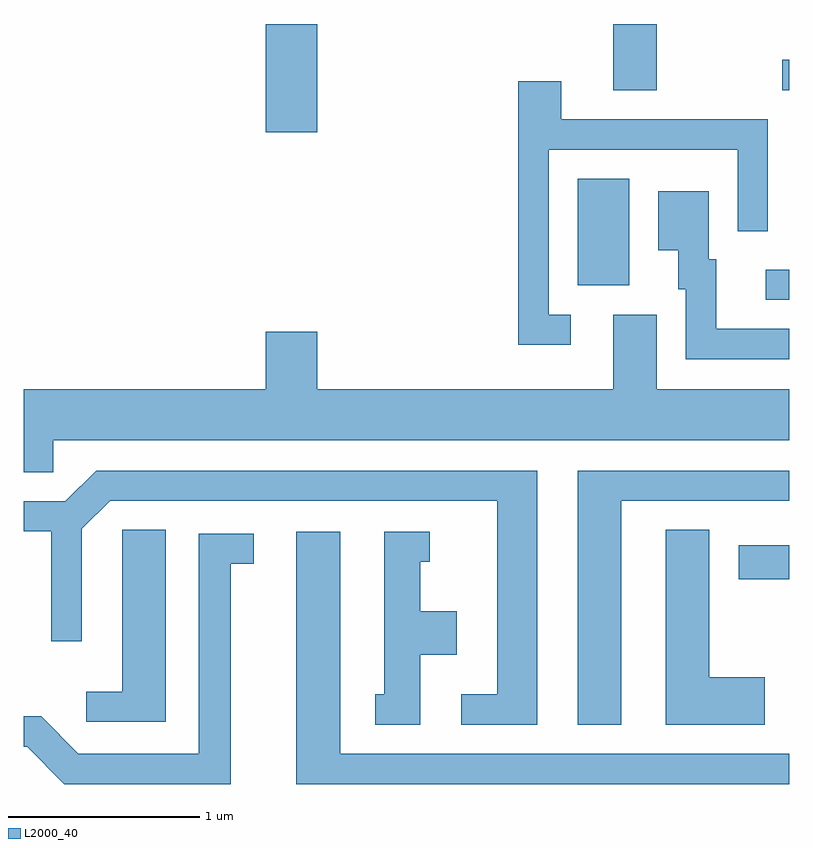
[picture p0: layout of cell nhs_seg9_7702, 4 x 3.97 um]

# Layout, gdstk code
import gdstk
lib = gdstk.Library(unit=1e-6, precision=1e-09)
def R(c, l, rs):  # rectangles x0, y0, x1, y1
    for r in rs: c.add(gdstk.rectangle(r[:2], r[2:], *l))
def P(c, l, *ps):  # polygons
    for p in ps: c.add(gdstk.Polygon(p, *l))
L2000_40 = (2000, 40)

nhs_seg9_7702 = lib.new_cell('nhs_seg9_7702')
R(nhs_seg9_7702, L2000_40, [(417.346,1995.531,417.611,1995.709), (417.488,1996.991,417.611,1997.149), (416.506,1997.066,416.774,1997.624), (414.876,1997.866,415.144,1998.432), (416.691,1998.086,416.919,1998.432), (417.573,1998.086,417.611,1998.244)])
P(nhs_seg9_7702, L2000_40, [(416.468,1996.914),(416.354,1996.914),(416.354,1997.776),(417.341,1997.776),(417.341,1997.348),(417.499,1997.348),(417.499,1997.934),(416.419,1997.934),(416.419,1998.134),(416.196,1998.134),(416.196,1996.756),(416.468,1996.756)],
  [(417.611,1996.839),(417.229,1996.839),(417.229,1997.204),(417.189,1997.204),(417.189,1997.559),(416.926,1997.559),(416.926,1997.251),(417.031,1997.251),(417.031,1997.046),(417.071,1997.046),(417.071,1996.681),(417.611,1996.681)],
  [(413.764,1996.256),(417.611,1996.256),(417.611,1996.524),(416.919,1996.524),(416.919,1996.914),(416.691,1996.914),(416.691,1996.524),(415.144,1996.524),(415.144,1996.824),(414.876,1996.824),(414.876,1996.524),(413.611,1996.524),(413.611,1996.091),(413.764,1996.091)],
  [(416.734,1995.941),(417.611,1995.941),(417.611,1996.099),(416.506,1996.099),(416.506,1994.771),(416.734,1994.771)],
  [(416.294,1996.099),(413.989,1996.099),(413.829,1995.939),(413.611,1995.939),(413.611,1995.781),(413.756,1995.781),(413.756,1995.208),(413.914,1995.208),(413.914,1995.794),(414.062,1995.941),(416.086,1995.941),(416.086,1994.929),(415.898,1994.929),(415.898,1994.771),(416.294,1994.771)],
  [(414.354,1995.789),(414.126,1995.789),(414.126,1994.944),(413.938,1994.944),(413.938,1994.786),(414.354,1994.786)],
  [(417.484,1995.019),(417.194,1995.019),(417.194,1995.789),(416.966,1995.789),(416.966,1994.771),(417.484,1994.771)],
  [(417.611,1994.619),(415.264,1994.619),(415.264,1995.779),(415.036,1995.779),(415.036,1994.461),(417.611,1994.461)],
  [(415.684,1995.136),(415.874,1995.136),(415.874,1995.364),(415.684,1995.364),(415.684,1995.621),(415.733,1995.621),(415.733,1995.779),(415.496,1995.779),(415.496,1994.929),(415.448,1994.929),(415.448,1994.771),(415.684,1994.771)],
  [(414.694,1995.611),(414.813,1995.611),(414.813,1995.769),(414.526,1995.769),(414.526,1994.619),(413.897,1994.619),(413.702,1994.814),(413.611,1994.814),(413.611,1994.656),(413.629,1994.656),(413.824,1994.461),(414.694,1994.461)])

lib.write_gds('nhs_seg9_7702.gds')
